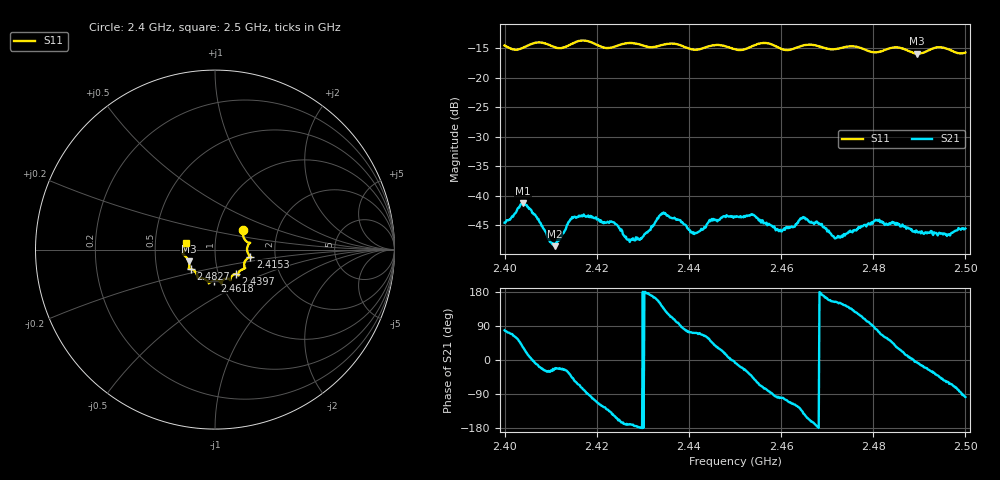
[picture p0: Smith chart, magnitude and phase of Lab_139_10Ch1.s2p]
# Hz S RI R 50
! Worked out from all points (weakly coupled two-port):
!   601 points, 2.4 GHz to 2.5 GHz, reference 50 ohm
!   highest |S21| = -41.25 dB at 2.404 GHz (marker M1); lowest = -48.6 dB at 2.4108 GHz (marker M2)
!   lowest |S11| = -15.9 dB at 2.4895 GHz (marker M3), VSWR 1.38, Z = 37 - j5.01 ohm
!   |S11| at or under -10 dB: start of sweep to end of sweep
!   S12 and S22 are empty: the file has one direction only
!   S11 on the Smith chart (normalised r, x): 2.4 GHz: 1.33, +0.29; 2.4153 GHz: 1.48, -0.12; 2.4397 GHz: 1.21, -0.34; 2.4618 GHz: 0.94, -0.33; 2.4827 GHz: 0.75, -0.17; 2.5 GHz: 0.72, +0.06
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2.4e9  0.1551 0.1067  0.00118 0.00576  0 0  0 0
2.404e9  0.1735 0.0473  0.00721 0.00478  0 0  0 0
2.410833e9  0.1814 0.0171  0.00339 -0.00152  0 0  0 0
2.415333e9  0.1971 -0.0392  0.00361 -0.00551  0 0  0 0
2.416667e9  0.203 -0.0434  0.00202 -0.00648  0 0  0 0
2.4235e9  0.1625 -0.0825  -0.00476 -0.00356  0 0  0 0
2.427167e9  0.1685 -0.1038  -0.00396 -0.000755  0 0  0 0
2.429667e9  0.1561 -0.1087  -0.00429 -0.000194  0 0  0 0
2.433333e9  0.1296 -0.1337  -0.00585 0.00258  0 0  0 0
2.439667e9  0.1167 -0.1359  0.00138 0.00508  0 0  0 0
2.441667e9  0.0981 -0.1433  0.00154 0.00456  0 0  0 0
2.444833e9  0.0842 -0.1678  0.00411 0.00469  0 0  0 0
2.45e9  0.0653 -0.1621  0.00653 -0.000831  0 0  0 0
2.456333e9  0.0388 -0.1941  0.00147 -0.00567  0 0  0 0
2.461833e9  -0.00317 -0.1729  -0.00197 -0.00493  0 0  0 0
2.464667e9  -0.0316 -0.1852  -0.00472 -0.0045  0 0  0 0
2.466667e9  -0.0347 -0.1881  -0.00562 -0.00178  0 0  0 0
2.472e9  -0.0699 -0.1612  -0.0039 0.00198  0 0  0 0
2.482667e9  -0.1349 -0.1087  0.00294 0.00493  0 0  0 0
2.483333e9  -0.14 -0.1084  0.00332 0.00459  0 0  0 0
2.4895e9  -0.1461 -0.0661  0.00494 -0.000514  0 0  0 0
2.5e9  -0.1593 0.0388  -0.00071 -0.00521  0 0  0 0
